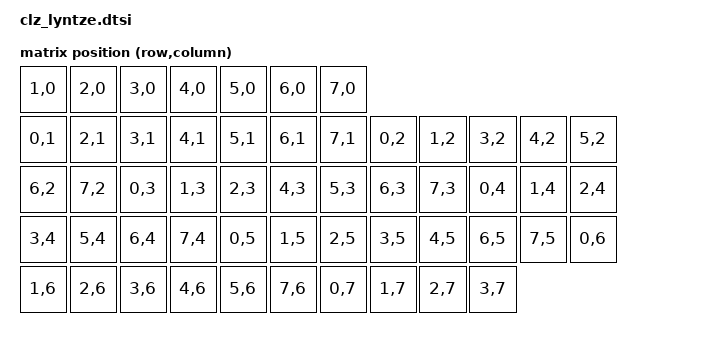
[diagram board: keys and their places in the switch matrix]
#include <dt-bindings/zmk/matrix_transform.h>
#include <physical_layouts.dtsi>


/ {
    chosen {
        zmk,physical-layout = &rooomie_layout;
    };


    rooomie_layout: rooomie_layout {
        compatible = "zmk,physical_layouts";
        display-name = "Default";
        transform = <&default_transform>;
        kscan = <&kscan0>;

        keys  //                     w   h    x    y     rot    rx    ry
            = <&key_physical_attrs 100 100    0   75       0     0     0>
            , <&key_physical_attrs 100 100  100   25       0     0     0>
            , <&key_physical_attrs 100 100  200    0       0     0     0>
            , <&key_physical_attrs 100 100  300   25       0     0     0>
            , <&key_physical_attrs 100 100  400   75       0     0     0>
            , <&key_physical_attrs 100 100  600   75       0     0     0>
            , <&key_physical_attrs 100 100  700   25       0     0     0>
            , <&key_physical_attrs 100 100  800    0       0     0     0>
            , <&key_physical_attrs 100 100  900   25       0     0     0>
            , <&key_physical_attrs 100 100 1000   75       0     0     0>
            , <&key_physical_attrs 100 100    0  175       0     0     0>
            , <&key_physical_attrs 100 100  100  125       0     0     0>
            , <&key_physical_attrs 100 100  200  100       0     0     0>
            , <&key_physical_attrs 100 100  300  125       0     0     0>
            , <&key_physical_attrs 100 100  400  175       0     0     0>
            , <&key_physical_attrs 100 100  600  175       0     0     0>
            , <&key_physical_attrs 100 100  700  125       0     0     0>
            , <&key_physical_attrs 100 100  800  100       0     0     0>
            , <&key_physical_attrs 100 100  900  125       0     0     0>
            , <&key_physical_attrs 100 100 1000  175       0     0     0>
            , <&key_physical_attrs 100 100  100  225       0     0     0>
            , <&key_physical_attrs 100 100  200  200       0     0     0>
            , <&key_physical_attrs 100 100  300  225       0     0     0>
            , <&key_physical_attrs 100 100  700  225       0     0     0>
            , <&key_physical_attrs 100 100  800  200       0     0     0>
            , <&key_physical_attrs 100 100  900  225       0     0     0>
            , <&key_physical_attrs 100 100  325  350       0     0     0>
            , <&key_physical_attrs 100 100  425  375       0     0     0>
            , <&key_physical_attrs 100 100  575  375       0     0     0>
            , <&key_physical_attrs 100 100  675  350       0     0     0>
            ;
    };

    kscan0: kscan {
        compatible = "zmk,kscan-gpio-charlieplex";
        label = "KSCAN";

        // interrupt-gpios = <&xiao_d 10 (GPIO_ACTIVE_HIGH|GPIO_PULL_DOWN) >;
        gpios
            = <&xiao_d 0 (GPIO_ACTIVE_HIGH)>
            , <&xiao_d 1 (GPIO_ACTIVE_HIGH)>
            , <&xiao_d 2 (GPIO_ACTIVE_HIGH)>
            , <&xiao_d 3 (GPIO_ACTIVE_HIGH)>
            , <&xiao_d 4 (GPIO_ACTIVE_HIGH)>
            , <&xiao_d 5 (GPIO_ACTIVE_HIGH)>
            , <&xiao_d 6 (GPIO_ACTIVE_HIGH)>
            , <&xiao_d 7 (GPIO_ACTIVE_HIGH)>
            ;
    };

    default_transform: cly_lyntze_layout{
        compatible = "zmk,matrix-transform";
        rows = <5>;
        columns = <12>;
        map = <
            RC(1,0) RC(2,0) RC(3,0) RC(4,0) RC(5,0) RC(6,0) RC(7,0) 
            RC(0,1) RC(2,1) RC(3,1) RC(4,1) RC(5,1) RC(6,1) RC(7,1) RC(0,2) RC(1,2) RC(3,2) RC(4,2) RC(5,2) 
            RC(6,2) RC(7,2) RC(0,3) RC(1,3) RC(2,3) RC(4,3) RC(5,3) RC(6,3) RC(7,3) RC(0,4) RC(1,4) RC(2,4) 
            RC(3,4) RC(5,4) RC(6,4) RC(7,4) RC(0,5) RC(1,5) RC(2,5) RC(3,5) RC(4,5) RC(6,5) RC(7,5) RC(0,6) 
            RC(1,6) RC(2,6) RC(3,6) RC(4,6) RC(5,6) RC(7,6) RC(0,7) RC(1,7) RC(2,7) RC(3,7) 
        >;
    };
};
